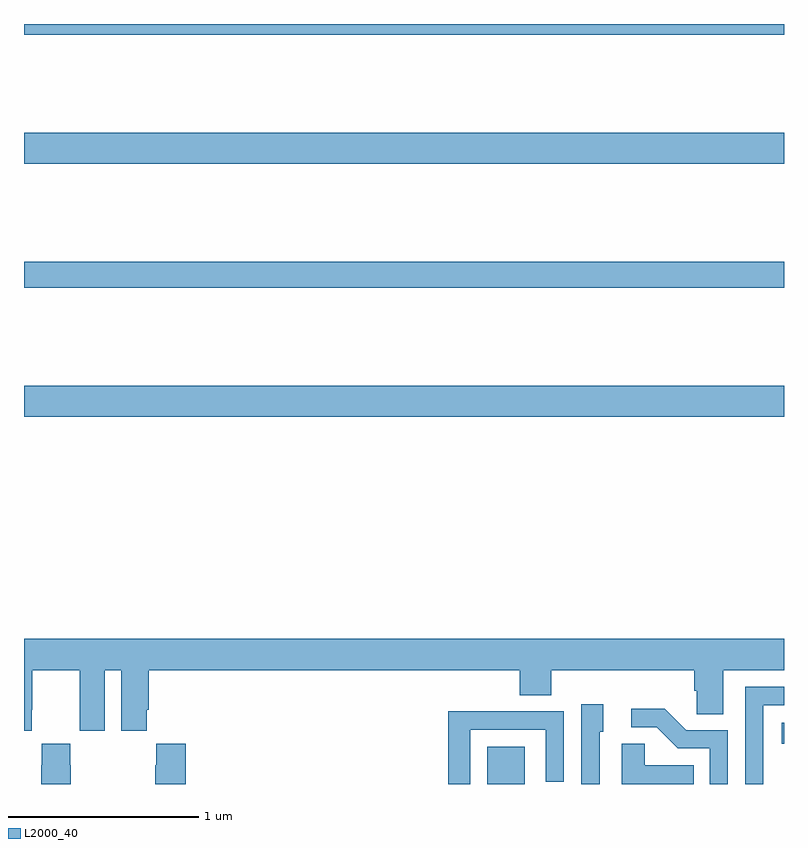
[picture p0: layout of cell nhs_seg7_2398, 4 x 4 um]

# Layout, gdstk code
import gdstk
lib = gdstk.Library(unit=1e-6, precision=1e-09)
def R(c, l, rs):  # rectangles x0, y0, x1, y1
    for r in rs: c.add(gdstk.rectangle(r[:2], r[2:], *l))
def P(c, l, *ps):  # polygons
    for p in ps: c.add(gdstk.Polygon(p, *l))
L2000_40 = (2000, 40)

nhs_seg7_2398 = lib.new_cell('nhs_seg7_2398')
R(nhs_seg7_2398, L2000_40, [(269.438,1016,269.635,1016.197), (270.987,1016.213,271,1016.323), (267,1017.932,271,1018.096), (267,1018.612,271,1018.748), (267,1019.264,271,1019.428), (267,1019.944,271,1020)])
P(nhs_seg7_2398, L2000_40, [(267,1016.28),(267.042,1016.28),(267.042,1016.392),(267.043,1016.392),(267.043,1016.6),(267.293,1016.6),(267.293,1016.392),(267.294,1016.392),(267.294,1016.28),(267.424,1016.28),(267.424,1016.6),(267.512,1016.6),(267.512,1016.28),(267.646,1016.28),(267.646,1016.392),(267.656,1016.392),(267.656,1016.6),(269.609,1016.6),(269.609,1016.467),(269.774,1016.467),(269.774,1016.6),(270.527,1016.6),(270.527,1016.491),(270.54,1016.491),(270.54,1016.368),(270.679,1016.368),(270.679,1016.6),(271,1016.6),(271,1016.764),(267,1016.764)],
  [(270.891,1016.415),(271,1016.415),(271,1016.511),(270.795,1016.511),(270.795,1016),(270.891,1016)],
  [(270.03,1016.274),(270.049,1016.274),(270.049,1016.419),(269.934,1016.419),(269.934,1016),(270.03,1016)],
  [(270.705,1016.283),(270.486,1016.283),(270.373,1016.396),(270.195,1016.396),(270.195,1016.298),(270.329,1016.298),(270.44,1016.187),(270.609,1016.187),(270.609,1016),(270.705,1016)],
  [(269.349,1016.286),(269.745,1016.286),(269.745,1016.013),(269.841,1016.013),(269.841,1016.382),(269.525,1016.382),(269.525,1016.384),(269.233,1016.384),(269.233,1016),(269.349,1016)],
  [(270.524,1016.098),(270.267,1016.098),(270.267,1016.213),(270.146,1016.213),(270.146,1016),(270.524,1016)],
  [(267.851,1016.212),(267.697,1016.212),(267.697,1016.099),(267.691,1016.099),(267.691,1016),(267.851,1016)],
  [(267.246,1016.099),(267.243,1016.099),(267.243,1016.212),(267.093,1016.212),(267.093,1016.099),(267.091,1016.099),(267.091,1016),(267.246,1016)])

lib.write_gds('nhs_seg7_2398.gds')
